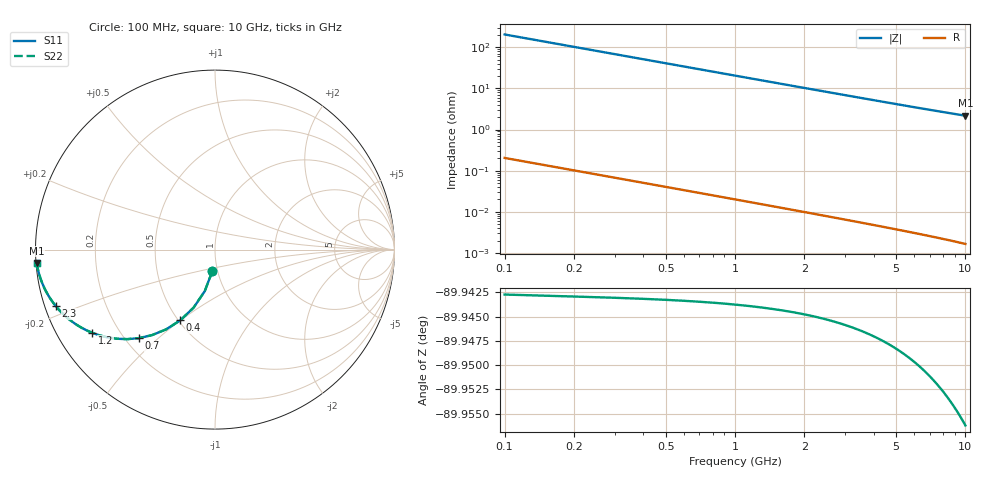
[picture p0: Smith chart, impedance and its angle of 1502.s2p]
# Hz S RI R 50.00
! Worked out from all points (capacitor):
!   100 points, 100 MHz to 10 GHz, reference 50 ohm
!   read as one part in shunt: C = 7.79 pF near 100 MHz
!   lowest |Z| = 2.17 ohm at 10 GHz (marker M1)
!   S11 on the Smith chart (normalised r, x): 100 MHz: 0.94, -0.23; 400 MHz: 0.51, -0.50; 700 MHz: 0.25, -0.43; 1.2 GHz: 0.10, -0.30; 2.3 GHz: 0.03, -0.17; 10 GHz: 0.00, -0.04
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1e8  -0.0148 -0.1205  0.9851 -0.1206  0.9851 -0.1206  -0.0148 -0.1205
2e8  -0.0567 -0.2306  0.9433 -0.2309  0.9433 -0.2309  -0.0567 -0.2306
3e8  -0.1189 -0.3231  0.881 -0.3234  0.881 -0.3234  -0.1189 -0.3231
4e8  -0.1934 -0.3943  0.8065 -0.3947  0.8065 -0.3947  -0.1934 -0.3943
5e8  -0.2724 -0.4444  0.7275 -0.445  0.7275 -0.445  -0.2724 -0.4444
6e8  -0.3502 -0.4762  0.6498 -0.4769  0.6498 -0.4769  -0.3502 -0.4762
7e8  -0.4231 -0.4931  0.5769 -0.494  0.5769 -0.494  -0.4231 -0.4931
9e8  -0.5478 -0.4967  0.4522 -0.4977  0.4522 -0.4977  -0.5478 -0.4967
1e9  -0.5992 -0.489  0.4008 -0.4902  0.4008 -0.4902  -0.5992 -0.489
1.2e9  -0.6826 -0.4642  0.3173 -0.4657  0.3173 -0.4657  -0.6826 -0.4642
1.3e9  -0.7162 -0.4495  0.2838 -0.4511  0.2838 -0.4511  -0.7162 -0.4495
1.5e9  -0.7705 -0.4191  0.2294 -0.4209  0.2294 -0.4209  -0.7705 -0.4191
1.8e9  -0.8285 -0.3753  0.1715 -0.3775  0.1715 -0.3775  -0.8285 -0.3753
2e9  -0.8563 -0.349  0.1436 -0.3514  0.1436 -0.3514  -0.8563 -0.349
2.3e9  -0.8874 -0.3142  0.1126 -0.317  0.1126 -0.317  -0.8874 -0.3142
2.8e9  -0.921 -0.2675  0.0789 -0.2708  0.0789 -0.2708  -0.921 -0.2675
3.4e9  -0.945 -0.2254  0.055 -0.2295  0.055 -0.2295  -0.945 -0.2254
4.2e9  -0.9632 -0.185  0.0367 -0.1902  0.0367 -0.1902  -0.9632 -0.185
5.1e9  -0.9748 -0.1531  0.0252 -0.1593  0.0252 -0.1593  -0.9748 -0.1531
6.7e9  -0.9853 -0.1157  0.0147 -0.124  0.0147 -0.124  -0.9853 -0.1157
8.4e9  -0.9906 -0.0904  0.00929 -0.1009  0.00929 -0.1009  -0.9906 -0.0904
1e10  -0.9934 -0.0738  0.00648 -0.0864  0.00648 -0.0864  -0.9934 -0.0738
